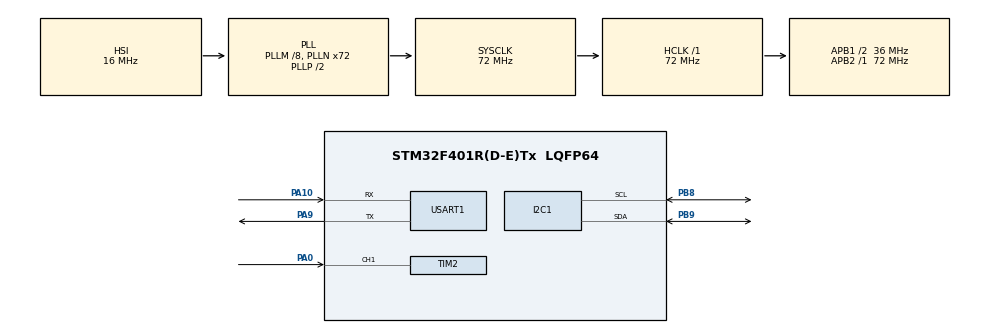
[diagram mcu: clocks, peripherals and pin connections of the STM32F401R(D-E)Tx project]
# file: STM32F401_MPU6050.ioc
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Dma.Request0=USART1_TX
Dma.Request1=TIM2_CH1
Dma.TIM2_CH1.1.Direction=DMA_PERIPH_TO_MEMORY
Dma.TIM2_CH1.1.FIFOMode=DMA_FIFOMODE_DISABLE
Dma.TIM2_CH1.1.Instance=DMA1_Stream5
Dma.TIM2_CH1.1.MemDataAlignment=DMA_MDATAALIGN_WORD
Dma.TIM2_CH1.1.MemInc=DMA_MINC_ENABLE
Dma.TIM2_CH1.1.Mode=DMA_CIRCULAR
Dma.TIM2_CH1.1.PeriphDataAlignment=DMA_PDATAALIGN_WORD
Dma.TIM2_CH1.1.PeriphInc=DMA_PINC_DISABLE
Dma.TIM2_CH1.1.Priority=DMA_PRIORITY_LOW
Dma.USART1_TX.0.Direction=DMA_MEMORY_TO_PERIPH
Dma.USART1_TX.0.FIFOMode=DMA_FIFOMODE_DISABLE
Dma.USART1_TX.0.Instance=DMA2_Stream7
Dma.USART1_TX.0.MemDataAlignment=DMA_MDATAALIGN_BYTE
Dma.USART1_TX.0.MemInc=DMA_MINC_ENABLE
Dma.USART1_TX.0.Mode=DMA_CIRCULAR
Dma.USART1_TX.0.PeriphDataAlignment=DMA_PDATAALIGN_BYTE
Dma.USART1_TX.0.PeriphInc=DMA_PINC_DISABLE
Dma.USART1_TX.0.Priority=DMA_PRIORITY_LOW
I2C1.I2C_Mode=I2C_Fast
Mcu.Family=STM32F4
Mcu.Name=STM32F401R(D-E)Tx
Mcu.Package=LQFP64
NVIC.DMA1_Stream5_IRQn=true\:0\:0\:false\:true\:true\:5\:false\:true\:true
NVIC.DMA2_Stream7_IRQn=true\:0\:0\:false\:true\:true\:9\:false\:true\:true
NVIC.I2C1_ER_IRQn=true\:0\:0\:false\:true\:true\:7\:true\:true\:true
NVIC.I2C1_EV_IRQn=true\:0\:0\:false\:true\:true\:6\:true\:true\:true
NVIC.PriorityGroup=NVIC_PRIORITYGROUP_4
NVIC.TIM1_UP_TIM10_IRQn=true\:0\:0\:false\:true\:true\:3\:true\:true\:true
NVIC.TIM2_IRQn=true\:0\:0\:false\:true\:true\:2\:true\:true\:true
NVIC.USART1_IRQn=true\:0\:0\:false\:true\:true\:8\:true\:true\:true
PA0-WKUP.Signal=S_TIM2_CH1_ETR
PA10.Mode=Asynchronous
PA10.Signal=USART1_RX
PA9.Mode=Asynchronous
PA9.Signal=USART1_TX
PB8.Mode=I2C
PB8.Signal=I2C1_SCL
PB9.Mode=I2C
PB9.Signal=I2C1_SDA
ProjectManager.HeapSize=0x200
ProjectManager.StackSize=0x400
ProjectManager.TargetToolchain=STM32CubeIDE
RCC.48MHZClocksFreq_Value=36000000
RCC.AHBFreq_Value=72000000
RCC.APB1CLKDivider=RCC_HCLK_DIV2
RCC.APB1Freq_Value=36000000
RCC.APB1TimFreq_Value=72000000
RCC.APB2Freq_Value=72000000
RCC.APB2TimFreq_Value=72000000
RCC.CortexFreq_Value=72000000
RCC.HCLKFreq_Value=72000000
RCC.HSE_VALUE=8000000
RCC.HSI_VALUE=16000000
RCC.LSE_VALUE=32768
RCC.PLLM=8
RCC.PLLN=72
RCC.SYSCLKFreq_VALUE=72000000
RCC.SYSCLKSource=RCC_SYSCLKSOURCE_PLLCLK
RCC.VCOOutputFreq_Value=144000000
SH.S_TIM2_CH1_ETR.0=TIM2_CH1,Input_Capture1_from_TI1
TIM1.Period=99
TIM1.Prescaler=7199
TIM2.Channel-Input_Capture1_from_TI1=TIM_CHANNEL_1
TIM2.Period=65000
TIM2.Prescaler=15
TIM3.Prescaler=7200 - 1
USART1.VirtualMode=VM_ASYNC
VP_RTC_VS_RTC_Activate.Mode=RTC_Enabled
VP_RTC_VS_RTC_Calendar.Mode=RTC_Calendar
VP_TIM1_VS_ClockSourceINT.Mode=Internal
VP_TIM2_VS_ClockSourceINT.Mode=Internal
VP_TIM3_VS_ClockSourceINT.Mode=Internal
board=custom

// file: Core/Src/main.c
/* USER CODE BEGIN Header */
/**
  ******************************************************************************
  * @file           : main.c
  * @brief          : Main program body
  ******************************************************************************
  * @attention
  *
  * Copyright (c) 2022 STMicroelectronics.
  * All rights reserved.
  *
  * This software is licensed under terms that can be found in the LICENSE file
  * in the root directory of this software component.
  * If no LICENSE file comes with this software, it is provided AS-IS.
  *
  ******************************************************************************
  */
/* USER CODE END Header */
#include "main.h"

I2C_HandleTypeDef hi2c1;

RTC_HandleTypeDef hrtc;

TIM_HandleTypeDef htim1;
TIM_HandleTypeDef htim2;
TIM_HandleTypeDef htim3;
DMA_HandleTypeDef hdma_tim2_ch1;

UART_HandleTypeDef huart1;
DMA_HandleTypeDef hdma_usart1_tx;

/* USER CODE BEGIN PV */
RTC_TimeTypeDef sTime;
RTC_DateTypeDef sDate;
MPU6050_t MPU6050;

/* USER CODE END PV */

void SystemClock_Config(void);
static void MX_GPIO_Init(void);
static void MX_DMA_Init(void);
static void MX_RTC_Init(void);
static void MX_TIM1_Init(void);
static void MX_USART1_UART_Init(void);
static void MX_I2C1_Init(void);
static void MX_TIM2_Init(void);
static void MX_TIM3_Init(void);
static void MX_NVIC_Init(void);

/* USER CODE BEGIN 0 */
void HAL_TIM_PeriodElapsedCallback(TIM_HandleTypeDef *htim)
{

    if (htim->Instance == TIM1) {

        counter_output_debug += 100;

        counter_delay_mpu += 100;

    }

}

int _write(int file, char *ptr, int len)
{
    HAL_UART_Transmit_IT(&huart1, (uint8_t*)ptr, len); // Configuring the output of debugging information

    return len;
}
/* USER CODE END 0 */

int main(void)
{

    /* MCU Configuration--------------------------------------------------------*/

    /* Reset of all peripherals, Initializes the Flash interface and the Systick. */
    HAL_Init();

    /* Configure the system clock */
    SystemClock_Config();

    /* Initialize all configured peripherals */
    MX_GPIO_Init();
    MX_DMA_Init();
    MX_RTC_Init();
    MX_TIM1_Init();
    MX_USART1_UART_Init();
    MX_I2C1_Init();
    MX_TIM2_Init();
    MX_TIM3_Init();

    /* Initialize interrupts */
    MX_NVIC_Init();
    /* USER CODE BEGIN 2 */
    HAL_TIM_IC_Start_IT(&htim2, TIM_CHANNEL_1);

    TIM_SET_UG(TIM1);             // Set update generation flag

    TIM_RESET_UIF(TIM1);          // Reset update interrupt flag

    HAL_TIM_Base_Start_IT(&htim1);

    HAL_TIM_IC_Start_IT(&htim2, TIM_CHANNEL_1);

    TIM_SET_UG(TIM3);             // Set update generation flag

    TIM_RESET_UIF(TIM3);          // Reset update interrupt flag

    HAL_TIM_Base_Start_IT(&htim3);

    read_MPU_ID(&hi2c1);

    MPU6050_self_test(&hi2c1);

    MPU_calibrate(&hi2c1);

    MPU6050_init(&hi2c1);

    /* USER CODE END 2 */

    /* Infinite loop */
    /* USER CODE BEGIN WHILE */
    while (1) {
        if (counter_output_debug == DELAY_OUTPUT_DEBUG) {

            HAL_RTC_GetTime(&hrtc, &sTime, RTC_FORMAT_BIN);

            HAL_RTC_GetDate(&hrtc, &sDate, RTC_FORMAT_BIN);

            printf("Ax = %2.5lf; Ay = %2.5lf; Az = %2.5lf\r\n", MPU6050.smooth_Ax, MPU6050.smooth_Ay, MPU6050.smooth_Az);

            HAL_Delay(5);

            printf("Gx = %2.5lf; Gy = %2.5lf; Gz = %2.5lf\r\n", MPU6050.smooth_Gx, MPU6050.smooth_Gy, MPU6050.smooth_Gz);

            HAL_Delay(5);

            printf("%02d:%02d:%02d\r\n", sTime.Hours, sTime.Minutes, sTime.Seconds); // Debugging information output

            HAL_Delay(5);

            counter_output_debug = 0;
        }

        if (check_data == TRUE) {
            check_data = FALSE;

            twin_output_ax = MPU6050.smooth_Ax;

            twin_output_ay = a_pitch;

            twin_output_az = a_yaw;

            twin_output_gx = g_roll;

            twin_output_gy = g_pitch;

            twin_output_gz = g_yaw;

            HAL_RTC_GetTime(&hrtc, &sTime, RTC_FORMAT_BIN);

            HAL_RTC_GetDate(&hrtc, &sDate, RTC_FORMAT_BIN);

            printf("Ax = %2.5lf; Ay = %2.5lf; Az = %2.5lf; CCR1 = %lu\r\n", MPU6050.smooth_Ax, MPU6050.smooth_Ay, MPU6050.smooth_Az, TIM2->CCR1);

            HAL_Delay(5);

            printf("Gx = %2.5lf; Gy = %2.5lf; Gz = %2.5lf\r\n", MPU6050.smooth_Gx, MPU6050.smooth_Gy, MPU6050.smooth_Gz);

            HAL_Delay(5);

            printf("%02d:%02d:%02d\r\n", sTime.Hours, sTime.Minutes, sTime.Seconds); // Debugging information output

            HAL_Delay(5);
        }
        /* USER CODE END WHILE */

    }
}

void SystemClock_Config(void)
{
    RCC_OscInitTypeDef RCC_OscInitStruct = {0};
    RCC_ClkInitTypeDef RCC_ClkInitStruct = {0};

    /** Configure the main internal regulator output voltage
    */
    __HAL_RCC_PWR_CLK_ENABLE();
    __HAL_PWR_VOLTAGESCALING_CONFIG(PWR_REGULATOR_VOLTAGE_SCALE2);

    /** Initializes the RCC Oscillators according to the specified parameters
    * in the RCC_OscInitTypeDef structure.
    */
    RCC_OscInitStruct.OscillatorType = RCC_OSCILLATORTYPE_HSI | RCC_OSCILLATORTYPE_LSI;
    RCC_OscInitStruct.HSIState = RCC_HSI_ON;
    RCC_OscInitStruct.HSICalibrationValue = RCC_HSICALIBRATION_DEFAULT;
    RCC_OscInitStruct.LSIState = RCC_LSI_ON;
    RCC_OscInitStruct.PLL.PLLState = RCC_PLL_ON;
    RCC_OscInitStruct.PLL.PLLSource = RCC_PLLSOURCE_HSI;
    RCC_OscInitStruct.PLL.PLLM = 8;
    RCC_OscInitStruct.PLL.PLLN = 72;
    RCC_OscInitStruct.PLL.PLLP = RCC_PLLP_DIV2;
    RCC_OscInitStruct.PLL.PLLQ = 4;
    if (HAL_RCC_OscConfig(&RCC_OscInitStruct) != HAL_OK) {
        Error_Handler();
    }

    /** Initializes the CPU, AHB and APB buses clocks
    */
    RCC_ClkInitStruct.ClockType = RCC_CLOCKTYPE_HCLK | RCC_CLOCKTYPE_SYSCLK
                                  | RCC_CLOCKTYPE_PCLK1 | RCC_CLOCKTYPE_PCLK2;
    RCC_ClkInitStruct.SYSCLKSource = RCC_SYSCLKSOURCE_PLLCLK;
    RCC_ClkInitStruct.AHBCLKDivider = RCC_SYSCLK_DIV1;
    RCC_ClkInitStruct.APB1CLKDivider = RCC_HCLK_DIV2;
    RCC_ClkInitStruct.APB2CLKDivider = RCC_HCLK_DIV1;

    if (HAL_RCC_ClockConfig(&RCC_ClkInitStruct, FLASH_LATENCY_2) != HAL_OK) {
        Error_Handler();
    }
}

/**
  * @brief NVIC Configuration.
  * @retval None
  */
static void MX_NVIC_Init(void)
{
    /* TIM2_IRQn interrupt configuration */
    HAL_NVIC_SetPriority(TIM2_IRQn, 0, 0);
    HAL_NVIC_EnableIRQ(TIM2_IRQn);
    /* TIM1_UP_TIM10_IRQn interrupt configuration */
    HAL_NVIC_SetPriority(TIM1_UP_TIM10_IRQn, 0, 0);
    HAL_NVIC_EnableIRQ(TIM1_UP_TIM10_IRQn);
    /* DMA1_Stream5_IRQn interrupt configuration */
    HAL_NVIC_SetPriority(DMA1_Stream5_IRQn, 0, 0);
    HAL_NVIC_EnableIRQ(DMA1_Stream5_IRQn);
    /* I2C1_EV_IRQn interrupt configuration */
    HAL_NVIC_SetPriority(I2C1_EV_IRQn, 0, 0);
    HAL_NVIC_EnableIRQ(I2C1_EV_IRQn);
    /* I2C1_ER_IRQn interrupt configuration */
    HAL_NVIC_SetPriority(I2C1_ER_IRQn, 0, 0);
    HAL_NVIC_EnableIRQ(I2C1_ER_IRQn);
    /* USART1_IRQn interrupt configuration */
    HAL_NVIC_SetPriority(USART1_IRQn, 0, 0);
    HAL_NVIC_EnableIRQ(USART1_IRQn);
    /* DMA2_Stream7_IRQn interrupt configuration */
    HAL_NVIC_SetPriority(DMA2_Stream7_IRQn, 0, 0);
    HAL_NVIC_EnableIRQ(DMA2_Stream7_IRQn);
}

static void MX_I2C1_Init(void)
{

    hi2c1.Instance = I2C1;
    hi2c1.Init.ClockSpeed = 400000;
    hi2c1.Init.DutyCycle = I2C_DUTYCYCLE_2;
    hi2c1.Init.OwnAddress1 = 0;
    hi2c1.Init.AddressingMode = I2C_ADDRESSINGMODE_7BIT;
    hi2c1.Init.DualAddressMode = I2C_DUALADDRESS_DISABLE;
    hi2c1.Init.OwnAddress2 = 0;
    hi2c1.Init.GeneralCallMode = I2C_GENERALCALL_DISABLE;
    hi2c1.Init.NoStretchMode = I2C_NOSTRETCH_DISABLE;
    if (HAL_I2C_Init(&hi2c1) != HAL_OK) {
        Error_Handler();
    }

}

static void MX_RTC_Init(void)
{

    RTC_TimeTypeDef sTime = {0};
    RTC_DateTypeDef sDate = {0};

    /** Initialize RTC Only
    */
    hrtc.Instance = RTC;
    hrtc.Init.HourFormat = RTC_HOURFORMAT_24;
    hrtc.Init.AsynchPrediv = 127;
    hrtc.Init.SynchPrediv = 255;
    hrtc.Init.OutPut = RTC_OUTPUT_DISABLE;
    hrtc.Init.OutPutPolarity = RTC_OUTPUT_POLARITY_HIGH;
    hrtc.Init.OutPutType = RTC_OUTPUT_TYPE_OPENDRAIN;
    if (HAL_RTC_Init(&hrtc) != HAL_OK) {
        Error_Handler();
    }

    /** Initialize RTC and set the Time and Date
    */
    sTime.Hours = 0x0;
    sTime.Minutes = 0x0;
    sTime.Seconds = 0x0;
    sTime.DayLightSaving = RTC_DAYLIGHTSAVING_NONE;
    sTime.StoreOperation = RTC_STOREOPERATION_RESET;
    if (HAL_RTC_SetTime(&hrtc, &sTime, RTC_FORMAT_BCD) != HAL_OK) {
        Error_Handler();
    }
    sDate.WeekDay = RTC_WEEKDAY_MONDAY;
    sDate.Month = RTC_MONTH_JANUARY;
    sDate.Date = 0x1;
    sDate.Year = 0x0;

    if (HAL_RTC_SetDate(&hrtc, &sDate, RTC_FORMAT_BCD) != HAL_OK) {
        Error_Handler();
    }

}

static void MX_TIM1_Init(void)
{

    TIM_ClockConfigTypeDef sClockSourceConfig = {0};
    TIM_MasterConfigTypeDef sMasterConfig = {0};

    htim1.Instance = TIM1;
    htim1.Init.Prescaler = 7199;
    htim1.Init.CounterMode = TIM_COUNTERMODE_UP;
    htim1.Init.Period = 99;
    htim1.Init.ClockDivision = TIM_CLOCKDIVISION_DIV1;
    htim1.Init.RepetitionCounter = 0;
    htim1.Init.AutoReloadPreload = TIM_AUTORELOAD_PRELOAD_DISABLE;
    if (HAL_TIM_Base_Init(&htim1) != HAL_OK) {
        Error_Handler();
    }
    sClockSourceConfig.ClockSource = TIM_CLOCKSOURCE_INTERNAL;
    if (HAL_TIM_ConfigClockSource(&htim1, &sClockSourceConfig) != HAL_OK) {
        Error_Handler();
    }
    sMasterConfig.MasterOutputTrigger = TIM_TRGO_RESET;
    sMasterConfig.MasterSlaveMode = TIM_MASTERSLAVEMODE_DISABLE;
    if (HAL_TIMEx_MasterConfigSynchronization(&htim1, &sMasterConfig) != HAL_OK) {
        Error_Handler();
    }

}

static void MX_TIM2_Init(void)
{

    TIM_ClockConfigTypeDef sClockSourceConfig = {0};
    TIM_MasterConfigTypeDef sMasterConfig = {0};
    TIM_IC_InitTypeDef sConfigIC = {0};

    htim2.Instance = TIM2;
    htim2.Init.Prescaler = 15;
    htim2.Init.CounterMode = TIM_COUNTERMODE_UP;
    htim2.Init.Period = 65000;
    htim2.Init.ClockDivision = TIM_CLOCKDIVISION_DIV1;
    htim2.Init.AutoReloadPreload = TIM_AUTORELOAD_PRELOAD_DISABLE;
    if (HAL_TIM_Base_Init(&htim2) != HAL_OK) {
        Error_Handler();
    }
    sClockSourceConfig.ClockSource = TIM_CLOCKSOURCE_INTERNAL;
    if (HAL_TIM_ConfigClockSource(&htim2, &sClockSourceConfig) != HAL_OK) {
        Error_Handler();
    }
    if (HAL_TIM_IC_Init(&htim2) != HAL_OK) {
        Error_Handler();
    }
    sMasterConfig.MasterOutputTrigger = TIM_TRGO_RESET;
    sMasterConfig.MasterSlaveMode = TIM_MASTERSLAVEMODE_DISABLE;
    if (HAL_TIMEx_MasterConfigSynchronization(&htim2, &sMasterConfig) != HAL_OK) {
        Error_Handler();
    }
    sConfigIC.ICPolarity = TIM_INPUTCHANNELPOLARITY_RISING;
    sConfigIC.ICSelection = TIM_ICSELECTION_DIRECTTI;
    sConfigIC.ICPrescaler = TIM_ICPSC_DIV1;
    sConfigIC.ICFilter = 0;
    if (HAL_TIM_IC_ConfigChannel(&htim2, &sConfigIC, TIM_CHANNEL_1) != HAL_OK) {
        Error_Handler();
    }

}

static void MX_TIM3_Init(void)
{

    TIM_ClockConfigTypeDef sClockSourceConfig = {0};
    TIM_MasterConfigTypeDef sMasterConfig = {0};

    htim3.Instance = TIM3;
    htim3.Init.Prescaler = 7200 - 1;
    htim3.Init.CounterMode = TIM_COUNTERMODE_UP;
    htim3.Init.Period = 65535;
    htim3.Init.ClockDivision = TIM_CLOCKDIVISION_DIV1;
    htim3.Init.AutoReloadPreload = TIM_AUTORELOAD_PRELOAD_DISABLE;
    if (HAL_TIM_Base_Init(&htim3) != HAL_OK) {
        Error_Handler();
    }
    sClockSourceConfig.ClockSource = TIM_CLOCKSOURCE_INTERNAL;
    if (HAL_TIM_ConfigClockSource(&htim3, &sClockSourceConfig) != HAL_OK) {
        Error_Handler();
    }
    sMasterConfig.MasterOutputTrigger = TIM_TRGO_RESET;
    sMasterConfig.MasterSlaveMode = TIM_MASTERSLAVEMODE_DISABLE;
    if (HAL_TIMEx_MasterConfigSynchronization(&htim3, &sMasterConfig) != HAL_OK) {
        Error_Handler();
    }

}

static void MX_USART1_UART_Init(void)
{

    huart1.Instance = USART1;
    huart1.Init.BaudRate = 115200;
    huart1.Init.WordLength = UART_WORDLENGTH_8B;
    huart1.Init.StopBits = UART_STOPBITS_1;
    huart1.Init.Parity = UART_PARITY_NONE;
    huart1.Init.Mode = UART_MODE_TX_RX;
    huart1.Init.HwFlowCtl = UART_HWCONTROL_NONE;
    huart1.Init.OverSampling = UART_OVERSAMPLING_16;
    if (HAL_UART_Init(&huart1) != HAL_OK) {
        Error_Handler();
    }

}

static void MX_DMA_Init(void)
{

    /* DMA controller clock enable */
    __HAL_RCC_DMA2_CLK_ENABLE();
    __HAL_RCC_DMA1_CLK_ENABLE();

}

static void MX_GPIO_Init(void)
{

    /* GPIO Ports Clock Enable */
    __HAL_RCC_GPIOA_CLK_ENABLE();
    __HAL_RCC_GPIOB_CLK_ENABLE();

}

/* USER CODE BEGIN 4 */
void HAL_TIM_IC_CaptureCallback(TIM_HandleTypeDef *htim)
{
    if(htim->Instance == TIM2) {
        timer = TIM3->CNT;

        TIM_CLEAR_COUNTER(TIM3);

        uint8_t int_status;

        static int8_t i = 0;

        static double Ax[5];

        static double Ay[5];

        static double Az[5];

        static double Gx[5];

        static double Gy[5];

        static double Gz[5];

        MPU6050_Read_All(&hi2c1, &MPU6050);

        float gx = MPU6050.Gyro_X_RAW * g_norm;				// - gyro_x_bias;
        float gy = MPU6050.Gyro_Y_RAW * g_norm;				// - gyro_x_bias;
        float gz = MPU6050.Gyro_Z_RAW * g_norm;				// - gyro_x_bias;

        float ax = MPU6050.Accel_X_RAW * a_norm;				// - accel_x_bias;
        float ay = MPU6050.Accel_Y_RAW * a_norm;				// - accel_y_bias;
        float az = MPU6050.Accel_Z_RAW * a_norm;				// - accel_z_bias;

        a_pitch = 180.f / M_PI * atan2f(ax, az);

        a_roll  = 180.f / M_PI * atan2f(ay, sqrt(ax * ax + az * az));

        a_yaw = 180.f / M_PI * atan2f((-1.f * ax), sqrt(ay * ay + az * az));

        timer /= 15625.f;

        g_pitch -= gy * timer;

        g_roll -= gx * timer;

        g_yaw -= gz * timer;

        g_pitch = g_pitch * (1.f - Kf) + a_pitch * Kf;

        g_roll = g_roll * (1.f - Kf) + a_roll * Kf;

        g_yaw = g_yaw * (1.f - Kf) + a_yaw * Kf;

        Ax[i] = a_roll;

        Ay[i] = a_pitch;

        Az[i] = a_yaw;

        Gx[i] = g_roll;

        Gy[i] = g_pitch;

        Gz[i] = g_yaw;

        if (i == 4) {
            i = -1;

            MPU6050.smooth_Ax = (int)smooth(Ax, 5);

            MPU6050.smooth_Ay = (int)smooth(Ay, 5);

            MPU6050.smooth_Az = (int)smooth(Az, 5);

            MPU6050.smooth_Gx = (int)smooth(Gx, 5);

            MPU6050.smooth_Gy = (int)smooth(Gy, 5);

            MPU6050.smooth_Gz = (int)smooth(Gz, 5);

            for (uint8_t i = 0; i < 5; i++) {
                Ax[i] = 0;

                Ay[i] = 0;

                Az[i] = 0;

                Gx[i] = 0;

                Gy[i] = 0;

                Gz[i] = 0;
            }

            if (MPU6050.smooth_Ax != twin_output_ax && MPU6050.smooth_Ay != twin_output_ay && MPU6050.smooth_Az != twin_output_az && MPU6050.smooth_Gx != twin_output_gx && MPU6050.smooth_Gy != twin_output_gy && MPU6050.smooth_Gz != twin_output_gz) {
                check_data = TRUE;
            }
        }

        HAL_I2C_Mem_Read(&hi2c1, MPU6050_ADDR, INT_STATUS, 1, &int_status, 1, i2c_timeout);

        i++;
    }
}
/* USER CODE END 4 */

void Error_Handler(void)
{
    __disable_irq();
    while (1) {
    }
}
